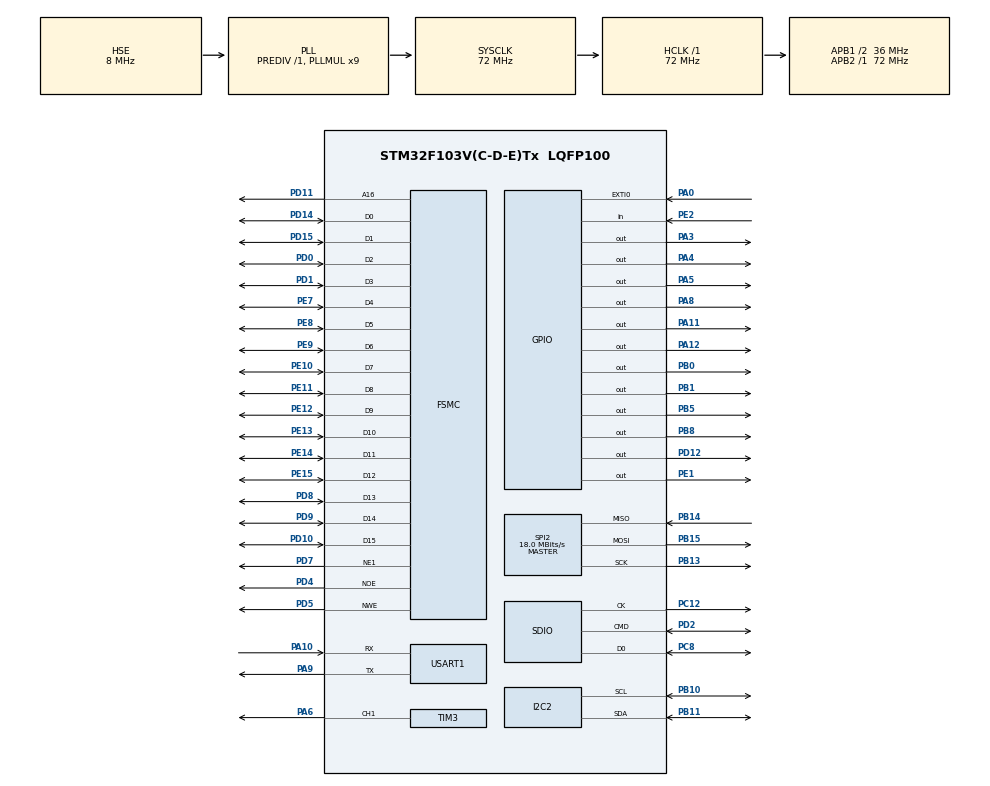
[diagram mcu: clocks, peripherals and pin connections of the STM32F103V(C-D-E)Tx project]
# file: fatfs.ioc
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Dma.Request0=SDIO
Dma.SDIO.0.Direction=DMA_PERIPH_TO_MEMORY
Dma.SDIO.0.Instance=DMA2_Channel4
Dma.SDIO.0.MemDataAlignment=DMA_MDATAALIGN_WORD
Dma.SDIO.0.MemInc=DMA_MINC_ENABLE
Dma.SDIO.0.Mode=DMA_CIRCULAR
Dma.SDIO.0.PeriphDataAlignment=DMA_PDATAALIGN_WORD
Dma.SDIO.0.PeriphInc=DMA_PINC_DISABLE
Dma.SDIO.0.Priority=DMA_PRIORITY_LOW
FATFS.BSP.number=1
FATFS._CODE_PAGE=936
FATFS._FS_LOCK=0
FATFS._FS_MINIMIZE=2
FATFS._FS_READONLY=0
FATFS._FS_REENTRANT=0
FATFS._FS_RPATH=1
FATFS._LFN_UNICODE=0
FATFS._MAX_LFN=64
FATFS._MAX_SS=4096
FATFS._USE_LFN=0
FATFS0.BSP.STBoard=false
FATFS0.BSP.api=Unknown
FATFS0.BSP.instance=PE2
FATFS0.BSP.ip=GPIO
FATFS0.BSP.mode=Input
FATFS0.BSP.name=Detect_SDIO
FATFS0.BSP.solution=PE2
FREERTOS.Tasks01=defaultTask,24,128,StartDefaultTask,Default,NULL,Dynamic,NULL,NULL;switch_window,25,128,StartTask02,Default,NULL,Dynamic,NULL,NULL;myTask03,26,128,StartTask03,Default,NULL,Dynamic,NULL,NULL;myTask04,26,128,StartTask04,Default,NULL,Dynamic,NULL,NULL;myTask05,26,128,StartTask05,Default,NULL,Dynamic,NULL,NULL
FREERTOS.configTOTAL_HEAP_SIZE=20000
Mcu.Family=STM32F1
Mcu.Name=STM32F103V(C-D-E)Tx
Mcu.Package=LQFP100
NVIC.DMA2_Channel4_5_IRQn=true\:5\:0\:true\:false\:true\:true\:false\:true\:true
NVIC.EXTI0_IRQn=true\:5\:0\:false\:false\:true\:true\:true\:true\:true
NVIC.PriorityGroup=NVIC_PRIORITYGROUP_4
NVIC.SDIO_IRQn=true\:5\:0\:false\:false\:true\:true\:true\:true\:true
OSC_IN.Mode=HSE-External-Oscillator
OSC_IN.Signal=RCC_OSC_IN
OSC_OUT.Mode=HSE-External-Oscillator
OSC_OUT.Signal=RCC_OSC_OUT
PA0-WKUP.Signal=GPXTI0
PA10.Mode=Asynchronous
PA10.Signal=USART1_RX
PA11.Signal=GPIO_Output
PA12.Signal=GPIO_Output
PA13.Mode=Serial_Wire
PA13.Signal=SYS_JTMS-SWDIO
PA14.Mode=Serial_Wire
PA14.Signal=SYS_JTCK-SWCLK
PA3.Signal=GPIO_Output
PA4.Signal=GPIO_Output
PA5.Signal=GPIO_Output
PA6.Signal=S_TIM3_CH1
PA8.Signal=GPIO_Output
PA9.Mode=Asynchronous
PA9.Signal=USART1_TX
PB0.PinState=GPIO_PIN_SET
PB0.Signal=GPIO_Output
PB1.PinState=GPIO_PIN_SET
PB1.Signal=GPIO_Output
PB10.Mode=I2C
PB10.Signal=I2C2_SCL
PB11.Mode=I2C
PB11.Signal=I2C2_SDA
PB13.Mode=Full_Duplex_Master
PB13.Signal=SPI2_SCK
PB14.Mode=Full_Duplex_Master
PB14.Signal=SPI2_MISO
PB15.Mode=Full_Duplex_Master
PB15.Signal=SPI2_MOSI
PB5.PinState=GPIO_PIN_SET
PB5.Signal=GPIO_Output
PB8.Signal=GPIO_Output
PC12.Mode=SD_1_bit
PC12.Signal=SDIO_CK
PC8.Mode=SD_1_bit
PC8.Signal=SDIO_D0
PD0.Mode=16b-d1
PD0.Signal=FSMC_D2
PD1.Mode=16b-d1
PD1.Signal=FSMC_D3
PD10.Mode=16b-d1
PD10.Signal=FSMC_D15
PD11.Mode=A16_1
PD11.Signal=FSMC_A16
PD12.Signal=GPIO_Output
PD14.Mode=16b-d1
PD14.Signal=FSMC_D0
PD15.Mode=16b-d1
PD15.Signal=FSMC_D1
PD2.Mode=SD_1_bit
PD2.Signal=SDIO_CMD
PD4.Mode=Lcd1
PD4.Signal=FSMC_NOE
PD5.Mode=Lcd1
PD5.Signal=FSMC_NWE
PD7.Mode=NorPsramChipSelect1_1
PD7.Signal=FSMC_NE1
PD8.Mode=16b-d1
PD8.Signal=FSMC_D13
PD9.Mode=16b-d1
PD9.Signal=FSMC_D14
PE1.Signal=GPIO_Output
PE10.Mode=16b-d1
PE10.Signal=FSMC_D7
PE11.Mode=16b-d1
PE11.Signal=FSMC_D8
PE12.Mode=16b-d1
PE12.Signal=FSMC_D9
PE13.Mode=16b-d1
PE13.Signal=FSMC_D10
PE14.Mode=16b-d1
PE14.Signal=FSMC_D11
PE15.Mode=16b-d1
PE15.Signal=FSMC_D12
PE2.GPIO_PuPd=GPIO_PULLDOWN
PE2.Signal=GPIO_Input
PE7.Mode=16b-d1
PE7.Signal=FSMC_D4
PE8.Mode=16b-d1
PE8.Signal=FSMC_D5
PE9.Mode=16b-d1
PE9.Signal=FSMC_D6
ProjectManager.HeapSize=0x200
ProjectManager.StackSize=0x800
ProjectManager.TargetToolchain=Makefile
RCC.AHBFreq_Value=72000000
RCC.APB1CLKDivider=RCC_HCLK_DIV2
RCC.APB1Freq_Value=36000000
RCC.APB1TimFreq_Value=72000000
RCC.APB2Freq_Value=72000000
RCC.APB2TimFreq_Value=72000000
RCC.HCLKFreq_Value=72000000
RCC.PLLMUL=RCC_PLL_MUL9
RCC.PLLSourceVirtual=RCC_PLLSOURCE_HSE
RCC.SYSCLKFreq_VALUE=72000000
RCC.SYSCLKSource=RCC_SYSCLKSOURCE_PLLCLK
RCC.USBFreq_Value=72000000
SDIO.ClockDiv=36
SH.S_TIM3_CH1.0=TIM3_CH1,PWM Generation1 CH1
SPI2.CalculateBaudRate=18.0 MBits/s
SPI2.Direction=SPI_DIRECTION_2LINES
SPI2.Mode=SPI_MODE_MASTER
SPI2.VirtualType=VM_MASTER
TIM3.Channel-PWM\ Generation1\ CH1=TIM_CHANNEL_1
TIM3.Period=4500-1
TIM3.Pulse-PWM\ Generation1\ CH1=2250
USART1.VirtualMode=VM_ASYNC
VP_FATFS_VS_SDIO.Mode=SDIO
VP_FREERTOS_VS_CMSIS_V2.Mode=CMSIS_V2
VP_TIM3_VS_ClockSourceINT.Mode=Internal
board=custom

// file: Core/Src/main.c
/* USER CODE BEGIN Header */
/**
  ******************************************************************************
  * @file           : main.c
  * @brief          : Main program body
  ******************************************************************************
  * @attention
  *
  * Copyright (c) 2025 STMicroelectronics.
  * All rights reserved.
  *
  * This software is licensed under terms that can be found in the LICENSE file
  * in the root directory of this software component.
  * If no LICENSE file comes with this software, it is provided AS-IS.
  *
  ******************************************************************************
  */
/* USER CODE END Header */
#include "main.h"
#include "cmsis_os.h"
#include "dma.h"
#include "fatfs.h"
#include "i2c.h"
#include "sdio.h"
#include "spi.h"
#include "tim.h"
#include "usart.h"
#include "gpio.h"
#include "fsmc.h"

void SystemClock_Config(void);
void MX_FREERTOS_Init(void);
/* USER CODE BEGIN PFP */
void display_in_main(void);

/* USER CODE END PFP */

int main(void)
{

  /* MCU Configuration--------------------------------------------------------*/

  /* Reset of all peripherals, Initializes the Flash interface and the Systick. */
  HAL_Init();

  /* Configure the system clock */
  SystemClock_Config();

  /* Initialize all configured peripherals */
  MX_GPIO_Init();
  MX_DMA_Init();
  MX_FSMC_Init();
  MX_SDIO_SD_Init();
  MX_FATFS_Init();
  MX_SPI2_Init();
  MX_USART1_UART_Init();
  MX_I2C2_Init();
  MX_TIM3_Init();

  /* Init scheduler */
  osKernelInitialize();

  /* Call init function for freertos objects (in cmsis_os2.c) */
  MX_FREERTOS_Init();

  /* Start scheduler */
  osKernelStart();

  /* We should never get here as control is now taken by the scheduler */

  /* Infinite loop */
  while (1)
  {

  }
}

void SystemClock_Config(void)
{
  RCC_OscInitTypeDef RCC_OscInitStruct = {0};
  RCC_ClkInitTypeDef RCC_ClkInitStruct = {0};

  /** Initializes the RCC Oscillators according to the specified parameters
  * in the RCC_OscInitTypeDef structure.
  */
  RCC_OscInitStruct.OscillatorType = RCC_OSCILLATORTYPE_HSE;
  RCC_OscInitStruct.HSEState = RCC_HSE_ON;
  RCC_OscInitStruct.HSEPredivValue = RCC_HSE_PREDIV_DIV1;
  RCC_OscInitStruct.HSIState = RCC_HSI_ON;
  RCC_OscInitStruct.PLL.PLLState = RCC_PLL_ON;
  RCC_OscInitStruct.PLL.PLLSource = RCC_PLLSOURCE_HSE;
  RCC_OscInitStruct.PLL.PLLMUL = RCC_PLL_MUL9;
  if (HAL_RCC_OscConfig(&RCC_OscInitStruct) != HAL_OK)
  {
    Error_Handler();
  }

  /** Initializes the CPU, AHB and APB buses clocks
  */
  RCC_ClkInitStruct.ClockType = RCC_CLOCKTYPE_HCLK|RCC_CLOCKTYPE_SYSCLK
                              |RCC_CLOCKTYPE_PCLK1|RCC_CLOCKTYPE_PCLK2;
  RCC_ClkInitStruct.SYSCLKSource = RCC_SYSCLKSOURCE_PLLCLK;
  RCC_ClkInitStruct.AHBCLKDivider = RCC_SYSCLK_DIV1;
  RCC_ClkInitStruct.APB1CLKDivider = RCC_HCLK_DIV2;
  RCC_ClkInitStruct.APB2CLKDivider = RCC_HCLK_DIV1;

  if (HAL_RCC_ClockConfig(&RCC_ClkInitStruct, FLASH_LATENCY_2) != HAL_OK)
  {
    Error_Handler();
  }
}

/* USER CODE BEGIN 4 */
void display_in_main(){
  FIL text;
  DWORD fileSize;  // 文件大小，方便验证
  uint8_t buff[BUFF_TOTAL_BYTE];
  uint8_t res=0, x=0;
  uint16_t xstr=INIT_X,ystr=INIT_Y;
  UINT brr;
  uint32_t move=0;
  res = f_open(&text, "down.bin", FA_READ);
        if (res == FR_OK)
        {
            printf("ok\n");
            // 文件打开成功，进行读取操作.
            fileSize = f_size(&text);
            printf("File size: %lu bytes\n", (unsigned long)fileSize);
            while (1)
            {
                for (x = 0; x < (TOTAL_BYTE % BUFF_TOTAL_BYTE ? (TOTAL_BYTE / BUFF_TOTAL_BYTE) + 1 : (TOTAL_BYTE / BUFF_TOTAL_BYTE)); x++)
                {
                    f_lseek(&text, move);
                    res = f_read(&text, buff, BUFF_TOTAL_BYTE, &brr);
                    LCD_Draw_Picture_Pro(&xstr, &ystr, brr, buff);
                    move += brr;
                }
                //printf("xstr=%d,ystr=%d\n",xstr,ystr);
                //printf("move=%d\n",move);
                if (brr < BUFF_TOTAL_BYTE) break;
            }

            f_close(&text);  // 关闭文件
            move = 0;//复位

        }
        else {
            // 文件打开失败，进行错误处理
            printf("no ok=%d\n", res);
            // ...
        }
}

/* USER CODE END 4 */

void Error_Handler(void)
{
  __disable_irq();
  while (1)
  {
  }
}

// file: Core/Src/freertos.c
/* USER CODE BEGIN Header */
/**
 ******************************************************************************
 * File Name          : freertos.c
 * Description        : Code for freertos applications
 ******************************************************************************
 * @attention
 *
 * Copyright (c) 2025 STMicroelectronics.
 * All rights reserved.
 *
 * This software is licensed under terms that can be found in the LICENSE file
 * in the root directory of this software component.
 * If no LICENSE file comes with this software, it is provided AS-IS.
 *
 ******************************************************************************
 */
/* USER CODE END Header */

#include "FreeRTOS.h"
#include "task.h"
#include "main.h"
#include "cmsis_os.h"

/* USER CODE BEGIN Includes */
#include "queue.h"
#include "semphr.h"
#include <stdio.h>
#include "fatfs.h"

/* USER CODE END Includes */

/* USER CODE BEGIN PTD */
typedef struct {
    eGestureInfo_t gesture_data;
    eTouchInfo_t touch_data;
} SensorData_t;

uint8_t open = 0;

// extern I2C_HandleTypeDef hi2c2;
/* USER CODE END PTD */

/* USER CODE BEGIN PD */

QueueHandle_t xSensorDataQueue = NULL;

#define mode_default    0
#define mode_Sensor_lcd 1
#define mode_Sensor_PC  2
#define mode_Wifi_send  3
#define mode_Wifi_rec   4
#define mode_Rled       5

uint8_t mode = 0;

uint8_t enable_senor = 0;
uint8_t enable_wifi  = 0;
uint8_t enable_Rled  = 0;

extern UART_HandleTypeDef huart1;
extern I2C_HandleTypeDef hi2c1;
extern uint8_t function1;
extern uint8_t function2;
extern uint8_t function3;
extern uint8_t function4;
extern uint8_t page;
/* USER CODE END PD */

/* Definitions for defaultTask */
osThreadId_t defaultTaskHandle;
const osThreadAttr_t defaultTask_attributes = {
  .name = "defaultTask",
  .stack_size = 128 * 4,
  .priority = (osPriority_t) osPriorityNormal,
};
/* Definitions for switch_window */
osThreadId_t switch_windowHandle;
const osThreadAttr_t switch_window_attributes = {
  .name = "switch_window",
  .stack_size = 128 * 4,
  .priority = (osPriority_t) osPriorityNormal1,
};
/* Definitions for myTask03 */
osThreadId_t myTask03Handle;
const osThreadAttr_t myTask03_attributes = {
  .name = "myTask03",
  .stack_size = 128 * 4,
  .priority = (osPriority_t) osPriorityNormal2,
};
/* Definitions for myTask04 */
osThreadId_t myTask04Handle;
const osThreadAttr_t myTask04_attributes = {
  .name = "myTask04",
  .stack_size = 128 * 4,
  .priority = (osPriority_t) osPriorityNormal2,
};
/* Definitions for myTask05 */
osThreadId_t myTask05Handle;
const osThreadAttr_t myTask05_attributes = {
  .name = "myTask05",
  .stack_size = 128 * 4,
  .priority = (osPriority_t) osPriorityNormal2,
};

void StartDefaultTask(void *argument);
void StartTask02(void *argument);
void StartTask03(void *argument);
void StartTask04(void *argument);
void StartTask05(void *argument);

void MX_FREERTOS_Init(void); /* (MISRA C 2004 rule 8.1) */

void MX_FREERTOS_Init(void) {
  /* USER CODE BEGIN Init */

    ILI9341_Init();
    XPT2046_Init();
    MX_FATFS_Init();
    MX_USART1_UART_Init();

  /* USER CODE END Init */

  /* USER CODE BEGIN RTOS_QUEUES */
    /* add queues, ... */

    xSensorDataQueue = xQueueCreate(1, sizeof(SensorData_t));

  /* USER CODE END RTOS_QUEUES */

  /* Create the thread(s) */
  /* creation of defaultTask */
  defaultTaskHandle = osThreadNew(StartDefaultTask, NULL, &defaultTask_attributes);

  /* creation of switch_window */
  switch_windowHandle = osThreadNew(StartTask02, NULL, &switch_window_attributes);

  /* creation of myTask03 */
  myTask03Handle = osThreadNew(StartTask03, NULL, &myTask03_attributes);

  /* creation of myTask04 */
  myTask04Handle = osThreadNew(StartTask04, NULL, &myTask04_attributes);

  /* creation of myTask05 */
  myTask05Handle = osThreadNew(StartTask05, NULL, &myTask05_attributes);

}

void StartDefaultTask(void *argument)
{
  /* USER CODE BEGIN StartDefaultTask */

    SensorData_t receivedData;

    for (;;) {

            if (xQueueReceive(xSensorDataQueue, &receivedData, portMAX_DELAY) == pdTRUE) {
                    ILI9341_DispString_EN(80, 0, "haha");

                if ((mode == mode_Sensor_PC) || (mode == mode_Sensor_lcd)) {

                    switch (receivedData.gesture_data) {
                        case eFilckR:
                            /* code */
                             ILI9341_DispString_EN(100, 0, "r");

                            gesture_dir_arrow("right.bin");

                            break;
                        case eFilckL:
                            /* code */
                            // ILI9341_DispString_EN(0, 0, "l");

                            gesture_dir_arrow("left.bin");
                            break;
                        case eFilckU:
                            /* code */
                            // ILI9341_DispString_EN(0, 0, "u");

                            gesture_dir_arrow("up.bin");
                            break;
                        case eFilckD:
                            /* code */
                            // ILI9341_DispString_EN(0, 0, "d");

                            gesture_dir_arrow("down.bin");
                            break;
                        default:
                            break;
                    }
                    switch (receivedData.touch_data) {
                        case eTouchCenter:
                            /* code */
                            ILI9341_DispString_EN(0, 20, "c");

                            break;
                        case eTapCenter:
                            ILI9341_DispString_EN(0, 20, "e");
                            break;
                        case eTouchDown:
                            /* code */
                            ILI9341_Clear(0, 20, 8, 16);
                            break;
                        case eTouchUp:
                            /* code */

                            break;
                        case eTouchLeft:
                            /* code */

                            break;
                        case eTouchRight:

                            break;
                        default:

                            break;
                    }
                }
                if (mode == mode_Sensor_PC) {
                    switch (receivedData.gesture_data) {
                        case 2:
                            /* code */
                            ILI9341_DispString_EN(0, 0, "r");
                            send_data("2");
                            break;
                        case 3:
                            /* code */
                            ILI9341_DispString_EN(0, 0, "l");
                            send_data("1");
                            break;
                        case 4:
                            /* code */
                            ILI9341_DispString_EN(0, 0, "u");
                            send_data("3");
                            break;
                        case 5:
                            /* code */
                            ILI9341_DispString_EN(0, 0, "d");
                            send_data("4");
                            break;
                        default:
                            break;
                    }

                    // info.gestureInfo        = 0;
                }
            }

        osDelay(1);
    }
  /* USER CODE END StartDefaultTask */
}

void StartTask02(void *argument)
{
  /* USER CODE BEGIN StartTask02 */
    sInfo_t info;
    uint16_t lastTimeStamp;
    uint16_t nowTimeStamp;
    uint16_t lastTouch;
    uint16_t nowTouch;
    SensorData_t sensorData;

    // open MGC3X30
    begin();

        for (;;) {
            if ((mode == mode_Sensor_PC) || (mode == mode_Sensor_lcd)) {

                sensorDataRecv(&info, &nowTimeStamp, &nowTouch);
                sensorData.touch_data   = getTouchInfo(&info, &lastTimeStamp, &nowTimeStamp, &lastTouch, &nowTouch);
                sensorData.gesture_data = getGestureInfo(&info);
                xQueueSend(xSensorDataQueue, &sensorData, portMAX_DELAY); // 发送数据到任务1
                sensorData.gesture_data = 0;
                sensorData.touch_data   = 0;

                // info.gestureInfo        = 0;
                vTaskDelay(pdMS_TO_TICKS(100));
            }
        }

  /* USER CODE END StartTask02 */
}

void StartTask03(void *argument)
{
  /* USER CODE BEGIN StartTask03 */
    /* Infinite loop */

    for (;;) {

        if (function2 == 1) {
            HAL_GPIO_WritePin(GPIOB, GPIO_PIN_8, GPIO_PIN_SET);
            ESP8266_Config();
            ILI9341_DispString_EN(120, 160, "wifiopen");
            function2=3;

        }

        osDelay(1);
    }

  /* USER CODE END StartTask03 */
}

void StartTask04(void *argument)
{
  /* USER CODE BEGIN StartTask04 */

    /* Infinite loop */
    for (;;) {
        XPT2046_TouchEvenHandler();
        // ILI9341_DispChar_EN(80,0,mode);
        osDelay(35);
    }
  /* USER CODE END StartTask04 */
}

void StartTask05(void *argument)
{
  /* USER CODE BEGIN StartTask05 */
    /* Infinite loop */

    for (;;) {
        // 判断现在是不是主�?

        if (page == 0) {

            main_page();

        }
        else if (page == 3){
          ILI9341_Init();
          page = 4;
        }

        else if(page == 1){

            if(mode==mode_Sensor_lcd){
                show_page();
            }else{
                 gesture_page();

            }

        }

        osDelay(1);
    }
  /* USER CODE END StartTask05 */
}
